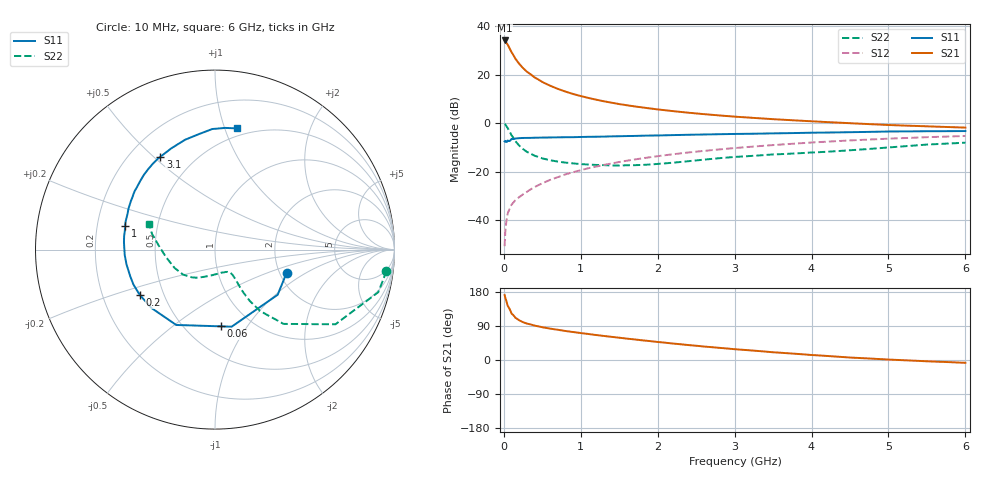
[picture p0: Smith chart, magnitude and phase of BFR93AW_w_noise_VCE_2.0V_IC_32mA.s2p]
! Infineon Technologies  Discrete & RF Semiconductors
! BFR93AW
! VCE =  2.0 V,  IC =  32 mA
! Common Emitter S-Parameters:  Jan 2017
# GHz  S  MA  R  50
!  f  S11  S21  S12  S22
! GHz  MAG  ANG  MAG  ANG  MAG  ANG  MAG  ANG
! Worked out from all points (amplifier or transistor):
!   77 points, 10 MHz to 6 GHz, reference 50 ohm
!   highest |S21| = 34.1 dB at 10 MHz (marker M1)
!   |S21| within 3 dB of that: start of sweep to 70.56 MHz
!   unconditionally stable (mu >= 1): 487.3 MHz to 2.18 GHz
!   at 130 MHz: K = 0.58, MSG = 30.1 dB, |S12| = -32.5 dB
!   at 2.2 GHz: K = 1.00, MSG = 8.9 dB, |S12| = -12.8 dB
!   at 6 GHz: K = 0.92, MSG = 1.7 dB, |S12| = -5.3 dB
!   lowest NFmin = 1.86 dB at 450 MHz
!   S11 on the Smith chart (normalised r, x): 10 MHz: 2.17, -0.69; 60 MHz: 0.73, -0.76; 200 MHz: 0.37, -0.24; 1 GHz: 0.32, +0.11; 3.1 GHz: 0.33, +0.53; 6 GHz: 0.43, +1.10
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0.01  0.4194 -18.2  50.66 171.5  0.0029 81.6  0.9629 -7.2
0.02  0.4304 -35.8  49.87 163.5  0.006 79.1  0.94 -14.6
0.05  0.4394 -77.8  41.49 143.0  0.0136 66.3  0.7898 -31.8
0.06  0.4287 -85.8  38.69 140.0  0.015 64.4  0.741 -34.1
0.1  0.4722 -117.2  29.04 122.6  0.0207 59.3  0.5632 -47.3
0.15  0.481 -137.5  21.36 111.6  0.0257 57.9  0.4246 -53.7
0.2  0.4894 -149.1  16.68 104.7  0.0298 60.7  0.3438 -55.9
0.25  0.4944 -157.0  13.63 99.7  0.034 61.7  0.2914 -56.5
0.3  0.4951 -162.6  11.48 96.2  0.0384 62.8  0.2553 -56.5
0.4  0.5 -170.6  8.76 90.7  0.048 66.3  0.2126 -55.7
0.5  0.5038 -176.5  7.054 86.5  0.0574 67.7  0.1875 -55.3
0.6  0.5056 179.0  5.922 82.9  0.0674 69.0  0.1717 -55.3
0.7  0.509 175.2  5.095 79.8  0.0768 69.9  0.1612 -55.7
0.8  0.5118 171.6  4.479 76.6  0.0875 70.2  0.1533 -57.0
1  0.5178 165.4  3.616 71.1  0.1069 69.8  0.1428 -60.5
1.1  0.522 162.6  3.304 68.6  0.1176 69.4  0.14 -62.8
1.5  0.5363 152.6  2.472 58.8  0.1576 67.1  0.1335 -76.1
2.1  0.561 139.3  1.84 45.6  0.2181 61.9  0.1481 -101.1
3.1  0.6003 120.4  1.328 27.0  0.315 52.0  0.2049 -132.3
4.1  0.6366 103.7  1.071 12.0  0.4062 41.0  0.2519 -159.2
5.1  0.673 90.1  0.903 0.3  0.4846 29.8  0.3235 173.6
6  0.686 79.9  0.808 -7.4  0.5432 19.8  0.3951 158.5
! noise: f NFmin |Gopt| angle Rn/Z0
0.45  1.86  0.19  175  0.16
0.9  2.12  0.26  -174  0.16
1.9  3.16  0.51  -135  0.3
2.4  3.82  0.56  -124  0.57
